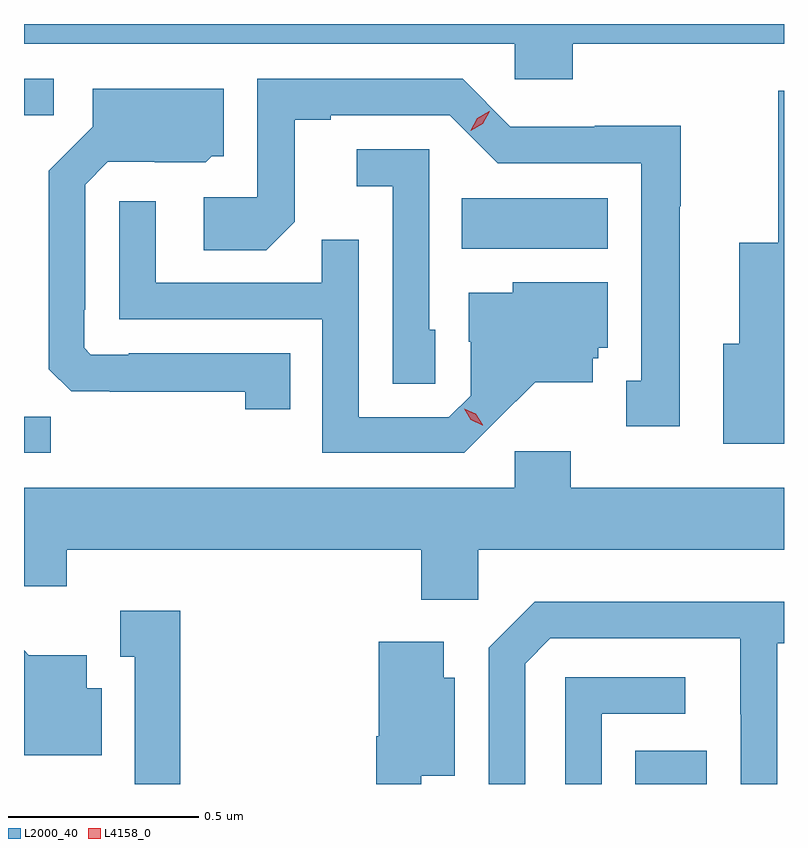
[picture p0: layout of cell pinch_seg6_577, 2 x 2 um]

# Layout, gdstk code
import gdstk
lib = gdstk.Library(unit=1e-6, precision=1e-09)
def R(c, l, rs):  # rectangles x0, y0, x1, y1
    for r in rs: c.add(gdstk.rectangle(r[:2], r[2:], *l))
def P(c, l, *ps):  # polygons
    for p in ps: c.add(gdstk.Polygon(p, *l))
L2000_40 = (2000, 40)
L4158_0 = (4158, 0)

pinch_seg6_577 = lib.new_cell('pinch_seg6_577')
R(pinch_seg6_577, L2000_40, [(628.889,977.356,629.077,977.443), (627.28,978.228,627.351,978.323), (628.432,978.764,628.816,978.898), (627.28,979.116,627.358,979.212)])
P(pinch_seg6_577, L2000_40, [(628.724,979.304),(629.28,979.304),(629.28,979.356),(627.28,979.356),(627.28,979.304),(628.572,979.304),(628.572,979.211),(628.724,979.211)],
  [(629.005,978.877),(629.008,978.877),(629.008,979.088),(628.782,979.088),(628.782,979.086),(628.56,979.086),(628.434,979.212),(627.894,979.212),(627.894,978.9),(627.753,978.9),(627.753,978.76),(627.917,978.76),(627.993,978.836),(627.993,979.104),(628.087,979.104),(628.087,979.116),(628.401,979.116),(628.527,978.99),(628.904,978.99),(628.904,978.417),(628.865,978.417),(628.865,978.297),(629.005,978.297)],
  [(627.98,978.489),(627.556,978.489),(627.556,978.486),(627.456,978.486),(627.438,978.504),(627.438,978.604),(627.441,978.604),(627.441,978.933),(627.501,978.993),(627.624,978.993),(627.624,978.992),(627.758,978.992),(627.774,979.008),(627.805,979.008),(627.805,979.186),(627.461,979.186),(627.461,979.086),(627.345,978.97),(627.345,978.448),(627.404,978.389),(627.505,978.389),(627.505,978.388),(627.862,978.388),(627.862,978.342),(627.98,978.342)],
  [(629.28,979.18),(629.265,979.18),(629.265,978.781),(629.162,978.781),(629.162,978.514),(629.12,978.514),(629.12,978.251),(629.28,978.251)],
  [(628.362,978.552),(628.347,978.552),(628.347,979.026),(628.155,979.026),(628.155,978.929),(628.251,978.929),(628.251,978.409),(628.362,978.409)],
  [(628.522,978.311),(628.625,978.413),(628.777,978.413),(628.777,978.477),(628.791,978.477),(628.791,978.504),(628.816,978.504),(628.816,978.676),(628.566,978.676),(628.566,978.649),(628.451,978.649),(628.451,978.52),(628.455,978.52),(628.455,978.378),(628.398,978.321),(628.161,978.321),(628.161,978.788),(628.063,978.788),(628.063,978.675),(627.627,978.675),(627.627,978.889),(627.531,978.889),(627.531,978.579),(628.065,978.579),(628.065,978.228),(628.438,978.228)],
  [(628.476,977.972),(629.28,977.972),(629.28,978.136),(628.719,978.136),(628.719,978.232),(628.572,978.232),(628.572,978.136),(627.28,978.136),(627.28,977.877),(627.392,977.877),(627.392,977.972),(628.325,977.972),(628.325,977.841),(628.476,977.841)],
  [(628.599,977.673),(628.665,977.739),(629.165,977.739),(629.165,977.539),(629.166,977.539),(629.166,977.356),(629.262,977.356),(629.262,977.726),(629.28,977.726),(629.28,977.836),(628.624,977.836),(628.503,977.715),(628.503,977.356),(628.599,977.356)],
  [(627.691,977.812),(627.533,977.812),(627.533,977.691),(627.572,977.691),(627.572,977.356),(627.691,977.356)],
  [(628.325,977.378),(628.414,977.378),(628.414,977.635),(628.384,977.635),(628.384,977.731),(628.214,977.731),(628.214,977.482),(628.207,977.482),(628.207,977.356),(628.325,977.356)],
  [(627.484,977.608),(627.445,977.608),(627.445,977.695),(627.293,977.695),(627.28,977.708),(627.28,977.432),(627.484,977.432)],
  [(628.8,977.541),(629.02,977.541),(629.02,977.637),(628.704,977.637),(628.704,977.356),(628.8,977.356)])
P(pinch_seg6_577, L4158_0, [(628.455,979.075),(628.455,979.076),(628.473,979.108),(628.504,979.127),(628.505,979.127),(628.505,979.127),(628.487,979.094),(628.455,979.075)],
  [(628.486,978.3),(628.456,978.315),(628.438,978.344),(628.438,978.344),(628.439,978.344),(628.469,978.33),(628.487,978.301),(628.487,978.3)])

lib.write_gds('pinch_seg6_577.gds')
